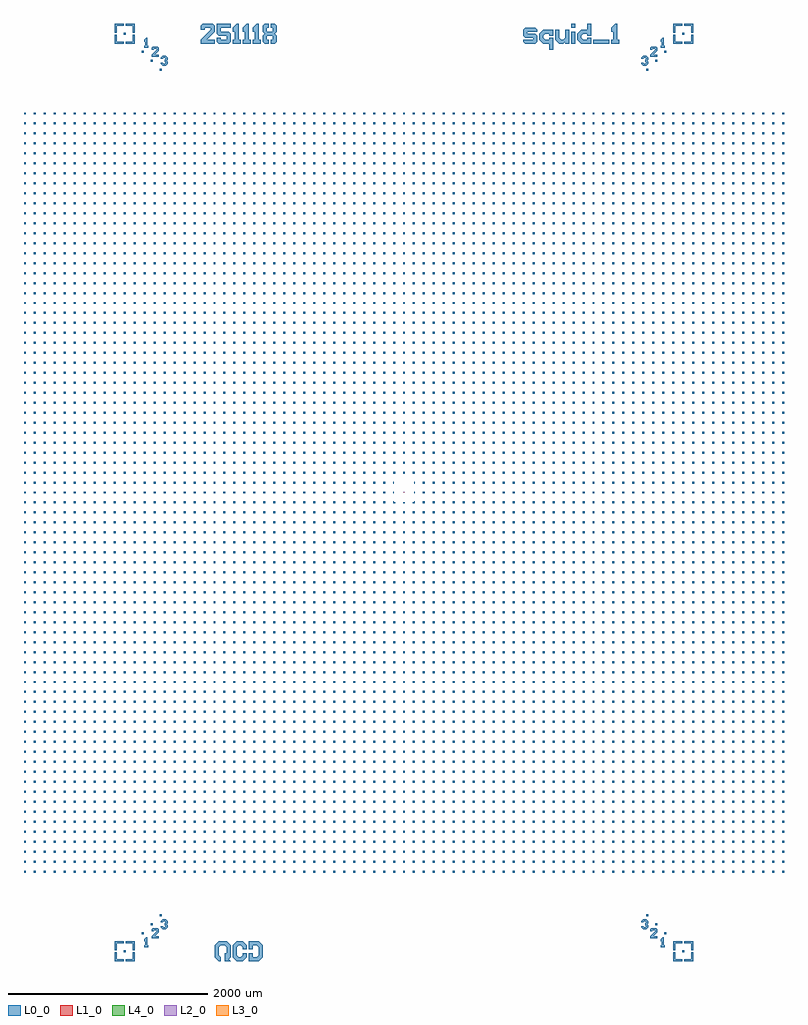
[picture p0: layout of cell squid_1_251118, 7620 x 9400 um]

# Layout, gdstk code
import gdstk
lib = gdstk.Library(unit=1e-6, precision=1e-09)
def R(c, l, rs):  # rectangles x0, y0, x1, y1
    for r in rs: c.add(gdstk.rectangle(r[:2], r[2:], *l))
def A(c, l, x, y, w, h, nx, ny, dx, dy):  # array of equal rectangles
    R(c, l, [(x+i*dx, y+j*dy, x+i*dx+w, y+j*dy+h) for i in range(nx) for j in range(ny)])
def P(c, l, *ps):  # polygons
    for p in ps: c.add(gdstk.Polygon(p, *l))
L0_0 = (0, 0)
L1_0 = (1, 0)
L2_0 = (2, 0)
L3_0 = (3, 0)
L4_0 = (4, 0)

remarks = lib.new_cell('remarks')
R(remarks, L0_0, [(-2810,-4610,-2790,-4590), (2790,-4610,2810,-4590), (-2630,-4430,-2610,-4410), (2610,-4430,2630,-4410), (-2540,-4340,-2520,-4320), (2520,-4340,2540,-4320), (-2450,-4250,-2430,-4230), (2430,-4250,2450,-4230), (-2450,4230,-2430,4250), (2430,4230,2450,4250), (-2540,4320,-2520,4340), (2520,4320,2540,4340), (-2630,4410,-2610,4430), (2610,4410,2630,4430), (1676.667,4500,1716.667,4620), (1896.667,4500,2056.667,4540), (-2810,4590,-2790,4610), (2790,4590,2810,4610), (1676.667,4660,1716.667,4700)])
P(remarks, L0_0, [(1216.667,4500),(1196.667,4520),(1196.667,4540),(1296.667,4540),(1296.667,4560),(1216.667,4560),(1196.667,4580),(1196.667,4640),(1216.667,4660),(1316.667,4660),(1336.667,4640),(1336.667,4620),(1236.667,4620),(1236.667,4600),(1316.667,4600),(1336.667,4580),(1336.667,4520),(1316.667,4500)],
  [(1456.667,4440),(1456.667,4500),(1396.667,4500),(1356.667,4540),(1356.667,4600),(1396.667,4640),(1496.667,4640),(1496.667,4580),(1456.667,4580),(1456.667,4600),(1416.667,4600),(1396.667,4580),(1396.667,4560),(1416.667,4540),(1456.667,4540),(1456.667,4560),(1496.667,4560),(1496.667,4440)],
  [(1556.667,4500),(1516.667,4540),(1516.667,4640),(1556.667,4640),(1556.667,4560),(1576.667,4540),(1596.667,4540),(1616.667,4560),(1616.667,4640),(1656.667,4640),(1656.667,4500),(1616.667,4500),(1616.667,4520),(1596.667,4500)],
  [(1776.667,4500),(1736.667,4540),(1736.667,4600),(1776.667,4640),(1836.667,4640),(1836.667,4700),(1876.667,4700),(1876.667,4580),(1836.667,4580),(1836.667,4600),(1796.667,4600),(1776.667,4580),(1776.667,4560),(1796.667,4540),(1836.667,4540),(1836.667,4560),(1876.667,4560),(1876.667,4500)],
  [(2076.667,4500),(2076.667,4540),(2096.667,4540),(2096.667,4620),(2076.667,4620),(2076.667,4660),(2116.667,4700),(2136.667,4700),(2136.667,4540),(2156.667,4540),(2156.667,4500)],
  [(-2036.667,4500),(-2036.667,4540),(-1936.667,4640),(-1936.667,4660),(-1996.667,4660),(-1996.667,4640),(-2036.667,4640),(-2036.667,4680),(-2016.667,4700),(-1916.667,4700),(-1896.667,4680),(-1896.667,4620),(-1976.667,4540),(-1896.667,4540),(-1896.667,4500)],
  [(-1856.667,4500),(-1876.667,4520),(-1876.667,4560),(-1836.667,4560),(-1836.667,4540),(-1776.667,4540),(-1776.667,4580),(-1856.667,4580),(-1876.667,4600),(-1876.667,4700),(-1736.667,4700),(-1736.667,4660),(-1836.667,4660),(-1836.667,4620),(-1756.667,4620),(-1736.667,4600),(-1736.667,4520),(-1756.667,4500)],
  [(-1716.667,4500),(-1716.667,4540),(-1696.667,4540),(-1696.667,4620),(-1716.667,4620),(-1716.667,4660),(-1676.667,4700),(-1656.667,4700),(-1656.667,4540),(-1636.667,4540),(-1636.667,4500)],
  [(-1616.667,4500),(-1616.667,4540),(-1596.667,4540),(-1596.667,4620),(-1616.667,4620),(-1616.667,4660),(-1576.667,4700),(-1556.667,4700),(-1556.667,4540),(-1536.667,4540),(-1536.667,4500)],
  [(-1516.667,4500),(-1516.667,4540),(-1496.667,4540),(-1496.667,4620),(-1516.667,4620),(-1516.667,4660),(-1476.667,4700),(-1456.667,4700),(-1456.667,4540),(-1436.667,4540),(-1436.667,4500)],
  [(-1396.667,4500),(-1416.667,4520),(-1416.667,4580),(-1396.667,4600),(-1416.667,4620),(-1416.667,4680),(-1396.667,4700),(-1356.667,4700),(-1356.667,4660),(-1376.667,4660),(-1376.667,4620),(-1316.667,4620),(-1316.667,4660),(-1336.667,4660),(-1336.667,4700),(-1296.667,4700),(-1276.667,4680),(-1276.667,4620),(-1296.667,4600),(-1276.667,4580),(-1276.667,4520),(-1296.667,4500),(-1336.667,4500),(-1336.667,4540),(-1316.667,4540),(-1316.667,4580),(-1376.667,4580),(-1376.667,4540),(-1356.667,4540),(-1356.667,4500)],
  [(-1856.667,-4700),(-1896.667,-4660),(-1896.667,-4540),(-1856.667,-4500),(-1776.667,-4500),(-1736.667,-4540),(-1736.667,-4660),(-1756.667,-4680),(-1736.667,-4700),(-1796.667,-4700),(-1796.667,-4620),(-1776.667,-4620),(-1776.667,-4560),(-1796.667,-4540),(-1836.667,-4540),(-1856.667,-4560),(-1856.667,-4640),(-1836.667,-4660),(-1836.667,-4700)],
  [(-1676.667,-4700),(-1716.667,-4660),(-1716.667,-4540),(-1676.667,-4500),(-1616.667,-4500),(-1576.667,-4540),(-1576.667,-4580),(-1616.667,-4580),(-1616.667,-4560),(-1636.667,-4540),(-1656.667,-4540),(-1676.667,-4560),(-1676.667,-4640),(-1656.667,-4660),(-1636.667,-4660),(-1616.667,-4640),(-1616.667,-4620),(-1576.667,-4620),(-1576.667,-4660),(-1616.667,-4700)],
  [(-1556.667,-4700),(-1556.667,-4620),(-1516.667,-4620),(-1516.667,-4660),(-1476.667,-4660),(-1456.667,-4640),(-1456.667,-4560),(-1476.667,-4540),(-1516.667,-4540),(-1516.667,-4580),(-1556.667,-4580),(-1556.667,-4500),(-1456.667,-4500),(-1416.667,-4540),(-1416.667,-4660),(-1456.667,-4700)],
  [(-2900,-4590),(-2900,-4500),(-2810,-4500),(-2810,-4520),(-2880,-4520),(-2880,-4590)],
  [(-2900,4500),(-2900,4590),(-2880,4590),(-2880,4520),(-2810,4520),(-2810,4500)],
  [(2810,4500),(2810,4520),(2880,4520),(2880,4590),(2900,4590),(2900,4500)],
  [(2880,-4590),(2880,-4520),(2810,-4520),(2810,-4500),(2900,-4500),(2900,-4590)],
  [(-2900,-4700),(-2900,-4610),(-2880,-4610),(-2880,-4680),(-2810,-4680),(-2810,-4700)],
  [(-2900,4610),(-2900,4700),(-2810,4700),(-2810,4680),(-2880,4680),(-2880,4610)],
  [(2880,4610),(2880,4680),(2810,4680),(2810,4700),(2900,4700),(2900,4610)],
  [(2810,-4700),(2810,-4680),(2880,-4680),(2880,-4610),(2900,-4610),(2900,-4700)],
  [(-2790,-4700),(-2790,-4680),(-2720,-4680),(-2720,-4610),(-2700,-4610),(-2700,-4700)],
  [(-2720,4610),(-2720,4680),(-2790,4680),(-2790,4700),(-2700,4700),(-2700,4610)],
  [(2700,4610),(2700,4700),(2790,4700),(2790,4680),(2720,4680),(2720,4610)],
  [(2700,-4700),(2700,-4610),(2720,-4610),(2720,-4680),(2790,-4680),(2790,-4700)],
  [(-2720,-4590),(-2720,-4520),(-2790,-4520),(-2790,-4500),(-2700,-4500),(-2700,-4590)],
  [(-2790,4500),(-2790,4520),(-2720,4520),(-2720,4590),(-2700,4590),(-2700,4500)],
  [(2700,4500),(2700,4590),(2720,4590),(2720,4520),(2790,4520),(2790,4500)],
  [(2700,-4590),(2700,-4500),(2790,-4500),(2790,-4520),(2720,-4520),(2720,-4590)],
  [(-2605,-4560),(-2605,-4540),(-2595,-4540),(-2595,-4500),(-2605,-4500),(-2605,-4480),(-2585,-4460),(-2575,-4460),(-2575,-4540),(-2565,-4540),(-2565,-4560)],
  [(-2605,4460),(-2605,4480),(-2595,4480),(-2595,4520),(-2605,4520),(-2605,4540),(-2585,4560),(-2575,4560),(-2575,4480),(-2565,4480),(-2565,4460)],
  [(2575,4460),(2575,4480),(2585,4480),(2585,4520),(2575,4520),(2575,4540),(2595,4560),(2605,4560),(2605,4480),(2615,4480),(2615,4460)],
  [(2575,-4560),(2575,-4540),(2585,-4540),(2585,-4500),(2575,-4500),(2575,-4480),(2595,-4460),(2605,-4460),(2605,-4540),(2615,-4540),(2615,-4560)],
  [(-2530,-4470),(-2530,-4450),(-2480,-4400),(-2480,-4390),(-2510,-4390),(-2510,-4400),(-2530,-4400),(-2530,-4380),(-2520,-4370),(-2470,-4370),(-2460,-4380),(-2460,-4410),(-2500,-4450),(-2460,-4450),(-2460,-4470)],
  [(-2530,4370),(-2530,4390),(-2480,4440),(-2480,4450),(-2510,4450),(-2510,4440),(-2530,4440),(-2530,4460),(-2520,4470),(-2470,4470),(-2460,4460),(-2460,4430),(-2500,4390),(-2460,4390),(-2460,4370)],
  [(2470,4370),(2470,4390),(2520,4440),(2520,4450),(2490,4450),(2490,4440),(2470,4440),(2470,4460),(2480,4470),(2530,4470),(2540,4460),(2540,4430),(2500,4390),(2540,4390),(2540,4370)],
  [(2470,-4470),(2470,-4450),(2520,-4400),(2520,-4390),(2490,-4390),(2490,-4400),(2470,-4400),(2470,-4380),(2480,-4370),(2530,-4370),(2540,-4380),(2540,-4410),(2500,-4450),(2540,-4450),(2540,-4470)],
  [(-2420,-4380),(-2440,-4360),(-2440,-4350),(-2420,-4350),(-2410,-4360),(-2400,-4360),(-2390,-4350),(-2400,-4340),(-2400,-4320),(-2390,-4310),(-2400,-4300),(-2410,-4300),(-2420,-4310),(-2440,-4310),(-2440,-4300),(-2420,-4280),(-2390,-4280),(-2370,-4300),(-2370,-4320),(-2380,-4330),(-2370,-4340),(-2370,-4360),(-2390,-4380)],
  [(-2420,4280),(-2440,4300),(-2440,4310),(-2420,4310),(-2410,4300),(-2400,4300),(-2390,4310),(-2400,4320),(-2400,4340),(-2390,4350),(-2400,4360),(-2410,4360),(-2420,4350),(-2440,4350),(-2440,4360),(-2420,4380),(-2390,4380),(-2370,4360),(-2370,4340),(-2380,4330),(-2370,4320),(-2370,4300),(-2390,4280)],
  [(2400,4280),(2380,4300),(2380,4310),(2400,4310),(2410,4300),(2420,4300),(2430,4310),(2420,4320),(2420,4340),(2430,4350),(2420,4360),(2410,4360),(2400,4350),(2380,4350),(2380,4360),(2400,4380),(2430,4380),(2450,4360),(2450,4340),(2440,4330),(2450,4320),(2450,4300),(2430,4280)],
  [(2400,-4380),(2380,-4360),(2380,-4350),(2400,-4350),(2410,-4360),(2420,-4360),(2430,-4350),(2420,-4340),(2420,-4320),(2430,-4310),(2420,-4300),(2410,-4300),(2400,-4310),(2380,-4310),(2380,-4300),(2400,-4280),(2430,-4280),(2450,-4300),(2450,-4320),(2440,-4330),(2450,-4340),(2450,-4360),(2430,-4380)])

nb_inv = lib.new_cell('Nb_inv')
P(nb_inv, L1_0, [(-5,0),(-5,10),(-1.5,10),(-1.5,6.3),(1.5,6.3),(1.5,10),(5,10),(5,0),(2.4,0),(2.4,3.7),(-2.4,3.7),(-2.4,0)])

jj1 = lib.new_cell('JJ1')
R(jj1, L2_0, [(-3.1,2.7,-2.9,7.3), (2.9,2.7,3.1,7.3), (-4.1,5.6,4.1,5.8)])

ghost1 = lib.new_cell('Ghost1')
R(ghost1, L3_0, [(-3.2,1.9,-2.8,2.9), (2.8,1.9,3.2,2.9), (-4.9,5.5,-3.9,5.9), (3.9,5.5,4.9,5.9), (-3.2,7.1,-2.8,8.1), (2.8,7.1,3.2,8.1)])

patch = lib.new_cell('Patch')
R(patch, L4_0, [(-3.6,2.2,-0.9,3.7), (0.9,2.2,3.6,3.7), (-0.75,5.1,0.75,7.8)])

unnamed_90 = lib.new_cell('Unnamed_90')
A(unnamed_90, L0_0, -3810, -3810, 20, 20, 77, 37, 100, 100)
A(unnamed_90, L0_0, -3810, -110, 20, 20, 37, 3, 100, 100)
A(unnamed_90, L0_0, 190, -110, 20, 20, 37, 3, 100, 100)
A(unnamed_90, L0_0, -3810, 190, 20, 20, 77, 37, 100, 100)
R(unnamed_90, L0_0, [(-10,-110,10,-100), (-110,-10,-105,10), (105,-10,110,10), (-110,90,-105,110), (105,90,110,110)])
P(unnamed_90, L0_0, [(-110,-110),(-110,-90),(-105,-90),(-105,-100),(-90,-100),(-90,-110)],
  [(90,-110),(90,-100),(105,-100),(105,-90),(110,-90),(110,-110)])

squid_1_251118 = lib.new_cell('squid_1_251118')
squid_1_251118.add(gdstk.Reference(remarks, (0,0)))
squid_1_251118.add(gdstk.Reference(nb_inv, (0,0)))
squid_1_251118.add(gdstk.Reference(jj1, (0,0)))
squid_1_251118.add(gdstk.Reference(ghost1, (0,0)))
squid_1_251118.add(gdstk.Reference(patch, (0,0)))
squid_1_251118.add(gdstk.Reference(unnamed_90, (0,0)))

lib.write_gds('squid_1_251118.gds')
